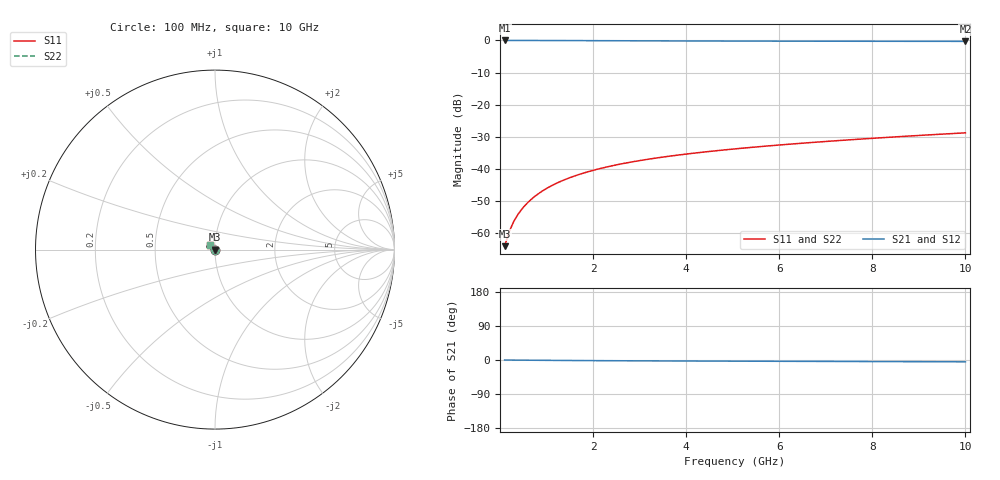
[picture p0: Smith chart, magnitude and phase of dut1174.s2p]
! Touchstone file exported from HFSS 2024.1.0
!  File:  C:/UserFiles/LocalFiles/RDL_TSV_Batchsim/temp_TSV1_1174_1780074040.aedt
!  Generated:  01:06:13 AM May 30, 2026
!  Design:  TSV1
!  Project:  temp_TSV1_1174_1780074040
!  Setup:  Setup1
!  Solution:  Sweep
! Variables:
!  dtsv = 5.78um
!  hbump = 3um
!  htsv = 68.03um
!  lrdl = 252.1521522um
!  p = 40
!  p1 = 53.6um
!  t = 500um
!  trdl = 3um
!  wrdl = 24.89489489um
# GHz S MA R 50.000000
! Terminal data exported
! Port[1] = TSV22_T1
! Port[2] = TSV22_T2
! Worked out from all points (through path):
!   100 points, 100 MHz to 10 GHz, reference 50 ohm
!   highest |S21| = 0.00 dB at 100 MHz (marker M1); lowest = -0.3 dB at 10 GHz (marker M2)
!   lowest |S11| = -64.1 dB at 100 MHz (marker M3), VSWR 1.00, Z = 50 - j0.0511 ohm
!   |S11| at or under -10 dB: start of sweep to end of sweep
!   |S22| runs from -64.1 to -28.8 dB; largest |S21 - S12| = 3.3e-15
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0.1  0.0006233 -54.9  0.9996 -0.1  0.9996 -0.1  0.0006233 -54.9
! Gamma 0 0 0 0
! Port Impedance 50 0 50 0
0.2  0.001058 -74.2  0.9995 -0.2  0.9995 -0.2  0.001058 -74.2
0.3  0.00153 -83.6  0.9994 -0.3  0.9994 -0.3  0.00153 -83.6
0.4  0.002014 -89.7  0.9992 -0.4  0.9992 -0.4  0.002014 -89.7
0.5  0.002503 -94.4  0.999 -0.5  0.999 -0.5  0.002503 -94.4
0.6  0.002993 -98.3  0.9988 -0.6  0.9988 -0.6  0.002993 -98.3
0.7  0.003483 -101.8  0.9985 -0.6  0.9985 -0.6  0.003483 -101.8
0.8  0.003971 -105.0  0.9981 -0.7  0.9981 -0.7  0.003971 -105.0
0.9  0.004456 -108.0  0.9978 -0.8  0.9978 -0.8  0.004456 -108.0
1.1  0.005413 -113.6  0.997 -1.0  0.997 -1.0  0.005413 -113.6
1.4  0.006813 -121.4  0.9956 -1.2  0.9956 -1.2  0.006813 -121.4
1.6  0.007717 -126.2  0.9945 -1.4  0.9945 -1.4  0.007717 -126.2
1.8  0.008599 -130.8  0.9935 -1.5  0.9935 -1.5  0.008599 -130.8
2.1  0.009877 -137.4  0.9918 -1.7  0.9918 -1.7  0.009876 -137.4
2.5  0.0115 -145.6  0.9895 -1.9  0.9895 -1.9  0.0115 -145.6
2.9  0.01304 -153.2  0.9873 -2.2  0.9873 -2.2  0.01304 -153.2
3.4  0.01487 -161.8  0.9846 -2.4  0.9846 -2.4  0.01487 -161.8
4.2  0.01764 -173.8  0.9809 -2.7  0.9809 -2.7  0.01764 -173.8
5.1  0.0206 174.9  0.9775 -3.1  0.9775 -3.1  0.0206 174.9
6.7  0.02571 159.2  0.9732 -3.7  0.9732 -3.7  0.02571 159.2
8.4  0.03113 147.0  0.9701 -4.3  0.9701 -4.3  0.03113 147.0
10  0.03633 138.3  0.968 -4.8  0.968 -4.8  0.03633 138.3
